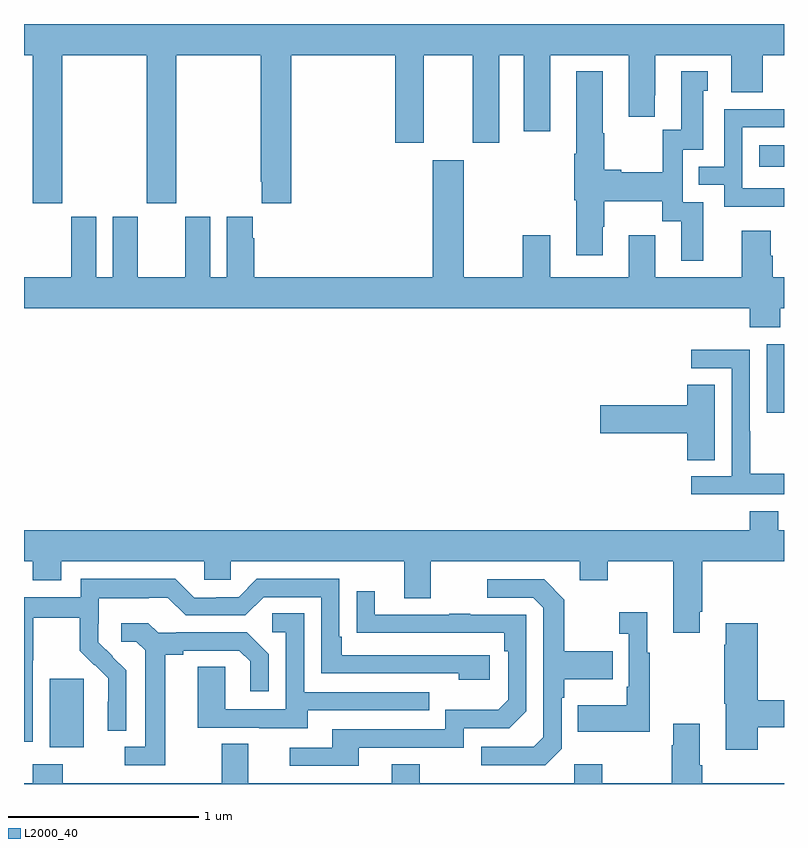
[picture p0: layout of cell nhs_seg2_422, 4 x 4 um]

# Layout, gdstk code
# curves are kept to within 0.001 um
import gdstk
lib = gdstk.Library(unit=1e-6, precision=1e-09)
def R(c, l, rs):  # rectangles x0, y0, x1, y1
    for r in rs: c.add(gdstk.rectangle(r[:2], r[2:], *l))
def P(c, l, *ps):  # polygons
    for p in ps: c.add(gdstk.Polygon(p, *l))
L2000_40 = (2000, 40)

nhs_seg2_422 = lib.new_cell('nhs_seg2_422')
R(nhs_seg2_422, L2000_40, [(131.135,643.994,131.314,644.355), (134.909,645.753,135,646.114), (134.871,647.048,135,647.163)])
P(nhs_seg2_422, L2000_40, [(131,647.636),(131.047,647.636),(131.047,646.857),(131.202,646.857),(131.202,647.636),(131.647,647.636),(131.647,646.857),(131.802,646.857),(131.802,647.636),(132.247,647.636),(132.247,646.969),(132.251,646.969),(132.251,646.857),(132.407,646.857),(132.407,647.636),(132.953,647.636),(132.953,647.175),(133.105,647.175),(133.105,647.636),(133.361,647.636),(133.361,647.175),(133.501,647.175),(133.501,647.636),(133.631,647.636),(133.631,647.235),(133.771,647.235),(133.771,647.636),(134.183,647.636),(134.183,647.313),(134.32,647.313),(134.32,647.425),(134.323,647.425),(134.323,647.636),(134.723,647.636),(134.723,647.442),(134.887,647.442),(134.887,647.636),(135,647.636),(135,647.8),(131,647.8)],
  [(134.575,646.863),(134.466,646.863),(134.466,647.139),(134.575,647.139),(134.575,647.448),(134.599,647.448),(134.599,647.551),(134.459,647.551),(134.459,647.244),(134.363,647.244),(134.363,647.02),(134.143,647.02),(134.143,647.033),(134.055,647.033),(134.055,647.225),(134.047,647.225),(134.047,647.551),(133.907,647.551),(133.907,647.116),(133.895,647.116),(133.895,646.872),(133.907,646.872),(133.907,646.584),(134.047,646.584),(134.047,646.734),(134.055,646.734),(134.055,646.868),(134.358,646.868),(134.358,646.762),(134.459,646.762),(134.459,646.554),(134.575,646.554)],
  [(135,646.935),(134.781,646.935),(134.781,647.256),(135,647.256),(135,647.352),(134.685,647.352),(134.685,647.049),(134.551,647.049),(134.551,646.953),(134.685,646.953),(134.685,646.839),(135,646.839)],
  [(134.979,646.304),(135,646.304),(135,646.468),(134.942,646.468),(134.942,646.581),(134.929,646.581),(134.929,646.711),(134.777,646.711),(134.777,646.468),(134.323,646.468),(134.323,646.687),(134.183,646.687),(134.183,646.468),(133.771,646.468),(133.771,646.687),(133.624,646.687),(133.624,646.468),(133.315,646.468),(133.315,647.083),(133.151,647.083),(133.151,646.468),(132.212,646.468),(132.212,646.673),(132.205,646.673),(132.205,646.786),(132.068,646.786),(132.068,646.468),(131.98,646.468),(131.98,646.786),(131.849,646.786),(131.849,646.468),(131.599,646.468),(131.599,646.786),(131.468,646.786),(131.468,646.468),(131.38,646.468),(131.38,646.786),(131.249,646.786),(131.249,646.468),(131,646.468),(131,646.304),(134.819,646.304),(134.819,646.205),(134.979,646.205)],
  [(135,645.433),(134.823,645.433),(134.823,645.656),(134.82,645.656),(134.82,646.086),(134.511,646.086),(134.511,645.987),(134.724,645.987),(134.724,645.42),(134.511,645.42),(134.511,645.324),(135,645.324)],
  [(134.635,645.902),(134.492,645.902),(134.492,645.794),(134.034,645.794),(134.034,645.647),(134.492,645.647),(134.492,645.505),(134.635,645.505)],
  [(134.557,644.707),(134.57,644.707),(134.57,644.972),(135,644.972),(135,645.136),(134.971,645.136),(134.971,645.235),(134.819,645.235),(134.819,645.136),(131,645.136),(131,644.972),(131.045,644.972),(131.045,644.873),(131.197,644.873),(131.197,644.972),(131.949,644.972),(131.949,644.874),(132.087,644.874),(132.087,644.972),(133.001,644.972),(133.001,644.778),(133.141,644.778),(133.141,644.972),(133.925,644.972),(133.925,644.873),(134.073,644.873),(134.073,644.972),(134.417,644.972),(134.417,644.595),(134.557,644.595)],
  [(131.046,644.452),(131.049,644.452),(131.049,644.676),(131.293,644.676),(131.293,644.501),(131.37,644.424),(131.373,644.427),(131.444,644.357),(131.444,644.234),(131.442,644.234),(131.442,644.08),(131.538,644.08),(131.538,644.398),(131.392,644.546),(131.392,644.643),(131.394,644.643),(131.394,644.777),(131.657,644.777),(131.657,644.781),(131.757,644.781),(131.85,644.688),(132.165,644.688),(132.261,644.784),(132.564,644.784),(132.564,644.382),(133.289,644.382),(133.289,644.348),(133.45,644.348),(133.45,644.478),(132.673,644.478),(132.673,644.575),(132.66,644.575),(132.66,644.88),(132.225,644.88),(132.129,644.784),(132.011,644.784),(132.011,644.781),(131.895,644.781),(131.795,644.881),(131.298,644.881),(131.298,644.784),(131,644.784),(131,644.023),(131.046,644.023)],
  [(133.83,643.986),(133.83,644.255),(133.843,644.255),(133.843,644.351),(134.099,644.351),(134.099,644.499),(133.843,644.499),(133.843,644.771),(133.737,644.877),(133.437,644.877),(133.437,644.781),(133.68,644.781),(133.734,644.727),(133.734,644.046),(133.683,643.995),(133.407,643.995),(133.407,643.899),(133.743,643.899)],
  [(132.763,643.992),(133.314,643.992),(133.314,644.094),(133.554,644.094),(133.644,644.184),(133.644,644.691),(133.349,644.691),(133.349,644.696),(133.237,644.696),(133.237,644.691),(132.847,644.691),(132.847,644.815),(132.751,644.815),(132.751,644.596),(133.528,644.595),(133.528,644.498),(133.548,644.498),(133.548,644.244),(133.495,644.191),(133.218,644.191),(133.218,644.088),(132.623,644.088),(132.623,643.992),(132.399,643.992),(132.399,643.896),(132.763,643.896)],
  [(134.293,644.491),(134.281,644.491),(134.281,644.704),(134.133,644.704),(134.133,644.591),(134.184,644.591),(134.184,644.311),(134.172,644.311),(134.172,644.215),(133.915,644.215),(133.915,644.075),(134.293,644.075)],
  [(132.493,644.187),(133.133,644.187),(133.133,644.283),(132.474,644.283),(132.474,644.699),(132.306,644.699),(132.306,644.598),(132.378,644.598),(132.378,644.193),(132.06,644.193),(132.06,644.417),(131.915,644.417),(131.915,644.097),(132.239,644.097),(132.239,644.093),(132.493,644.093)],
  [(131.743,644.48),(131.839,644.48),(131.839,644.502),(132.134,644.502),(132.191,644.445),(132.191,644.289),(132.288,644.289),(132.288,644.482),(132.172,644.598),(131.8,644.598),(131.8,644.595),(131.706,644.595),(131.654,644.647),(131.511,644.647),(131.511,644.55),(131.592,644.55),(131.639,644.503),(131.639,643.995),(131.529,643.995),(131.529,643.899),(131.743,643.899)],
  [(134.861,644.098),(135,644.098),(135,644.24),(134.861,644.24),(134.861,644.647),(134.693,644.647),(134.693,644.534),(134.686,644.534),(134.686,644.223),(134.693,644.223),(134.693,643.98),(134.861,643.98)],
  [(135,643.804),(134.57,643.804),(134.57,643.9),(134.557,643.9),(134.557,644.116),(134.417,644.116),(134.417,644.003),(134.41,644.003),(134.41,643.804),(134.043,643.804),(134.043,643.903),(133.896,643.903),(133.896,643.804),(133.083,643.804),(133.083,643.903),(132.935,643.903),(132.935,643.804),(132.181,643.804),(132.181,644.012),(132.041,644.012),(132.041,643.804),(131.205,643.804),(131.205,643.903),(131.045,643.903),(131.045,643.804),(131,643.804),(131,643.8),(135,643.8)])

lib.write_gds('nhs_seg2_422.gds')
